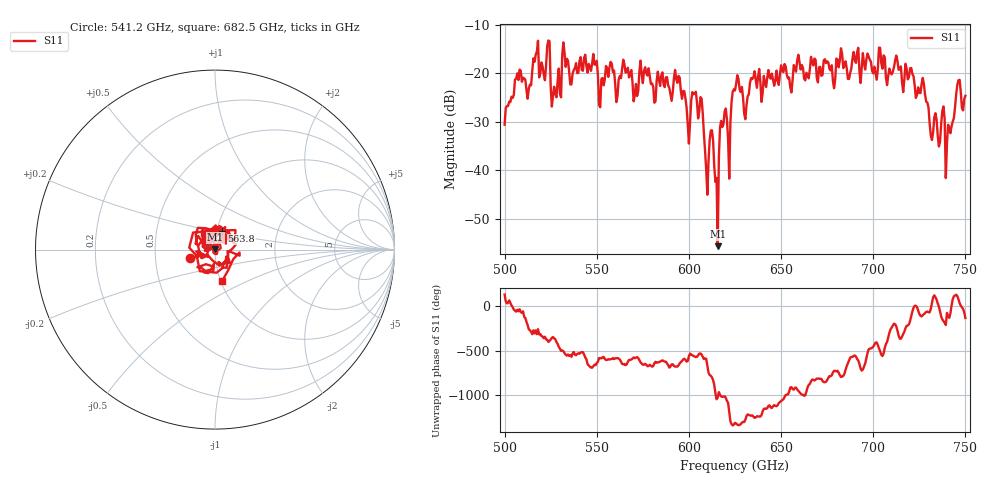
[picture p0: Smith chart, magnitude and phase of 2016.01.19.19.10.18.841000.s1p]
!Created with skrf (http://scikit-rf.org).
# GHz S RI R 50.0
!freq ReS11 ImS11
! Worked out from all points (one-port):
!   401 points, 500 GHz to 750 GHz, reference 50 ohm
!   lowest |S11| = -55.6 dB at 615.6 GHz (marker M1), VSWR 1.00, Z = 50.1 + j0.132 ohm
!   |S11| at or under -10 dB: start of sweep to end of sweep
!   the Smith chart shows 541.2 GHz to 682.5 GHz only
!   S11 on the Smith chart (normalised r, x): 541.2 GHz: 0.75, -0.07; 563.8 GHz: 1.06, +0.22; 682.5 GHz: 1.01, -0.37
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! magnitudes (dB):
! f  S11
! 500 GHz  -30.6
! 507.5 GHz  -21.4
! 513.1 GHz  -23.2
! 516.9 GHz  -16.2
! 523.8 GHz  -13.3
! 526.9 GHz  -22.8
! 531.2 GHz  -16.4
! 541.2 GHz  -16.7
! 562.5 GHz  -20.6
! 563.8 GHz  -19.2
! 571.2 GHz  -22.2
! 593.8 GHz  -22.0
! 599.4 GHz  -30.6
! 606.2 GHz  -24.9
! 609.4 GHz  -39.9
! 612.5 GHz  -31.8
! 615.6 GHz  -55.6
! 618.1 GHz  -31.1
! 621.9 GHz  -41.7
! 625 GHz  -23.6
! 630.6 GHz  -29.5
! 656.2 GHz  -21.4
! 682.5 GHz  -14.9
! 687.5 GHz  -20.0
! 718.8 GHz  -21.3
! 740.6 GHz  -30.6
! 746.2 GHz  -21.5
! 750 GHz  -24.7
